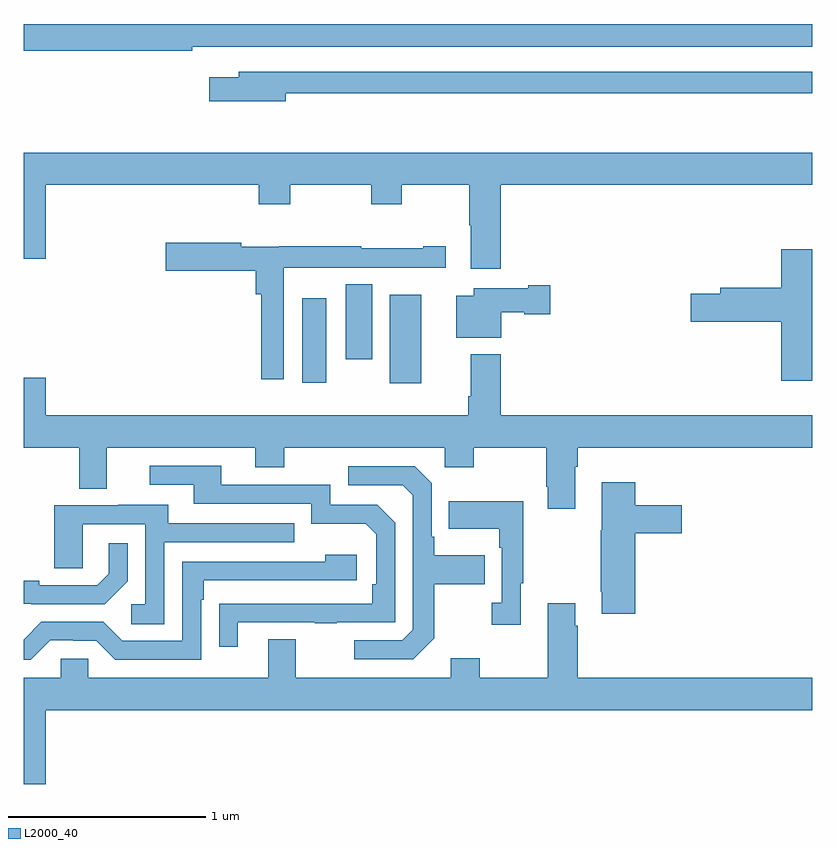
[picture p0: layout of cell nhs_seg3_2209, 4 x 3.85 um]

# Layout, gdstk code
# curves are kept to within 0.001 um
import gdstk
lib = gdstk.Library(unit=1e-6, precision=1e-09)
def R(c, l, rs):  # rectangles x0, y0, x1, y1
    for r in rs: c.add(gdstk.rectangle(r[:2], r[2:], *l))
def P(c, l, *ps):  # polygons
    for p in ps: c.add(gdstk.Polygon(p, *l))
L2000_40 = (2000, 40)

nhs_seg3_2209 = lib.new_cell('nhs_seg3_2209')
R(nhs_seg3_2209, L2000_40, [(226.856,702.573,227.017,703.024), (226.412,702.576,226.534,703.006), (226.634,702.696,226.768,703.076)])
P(nhs_seg3_2209, L2000_40, [(225.854,704.28),(229,704.28),(229,704.396),(225,704.396),(225,704.26),(225.854,704.26)],
  [(226.33,704.046),(229,704.046),(229,704.154),(226.091,704.154),(226.091,704.125),(225.942,704.125),(225.942,704.003),(226.33,704.003)],
  [(227.42,703.58),(229,703.58),(229,703.744),(225,703.744),(225,703.206),(225.112,703.206),(225.112,703.58),(226.193,703.58),(226.193,703.481),(226.353,703.481),(226.353,703.58),(226.762,703.58),(226.762,703.481),(226.917,703.481),(226.917,703.58),(227.26,703.58),(227.26,703.376),(227.267,703.376),(227.267,703.155),(227.42,703.155)],
  [(226.32,703.16),(226.53,703.16),(226.53,703.161),(226.864,703.161),(226.864,703.16),(227.14,703.16),(227.14,703.27),(227.027,703.27),(227.027,703.26),(226.712,703.26),(226.712,703.27),(226.296,703.27),(226.296,703.267),(226.104,703.267),(226.104,703.287),(225.72,703.287),(225.72,703.145),(226.178,703.145),(226.178,703.025),(226.204,703.025),(226.204,702.594),(226.32,702.594)],
  [(229,703.255),(228.842,703.255),(228.842,703.058),(228.533,703.058),(228.533,703.028),(228.384,703.028),(228.384,702.886),(228.842,702.886),(228.842,702.588),(229,702.588)],
  [(227.422,702.935),(227.538,702.935),(227.538,702.923),(227.671,702.923),(227.671,703.07),(227.558,703.07),(227.558,703.057),(227.282,703.057),(227.282,703.018),(227.195,703.018),(227.195,702.806),(227.422,702.806)],
  [(227.42,702.721),(227.267,702.721),(227.267,702.508),(227.255,702.508),(227.255,702.412),(225.112,702.412),(225.112,702.601),(225,702.601),(225,702.248),(225.281,702.248),(225.281,702.04),(225.421,702.04),(225.421,702.248),(226.175,702.248),(226.175,702.149),(226.323,702.149),(226.323,702.248),(227.136,702.248),(227.136,702.149),(227.283,702.149),(227.283,702.248),(227.65,702.248),(227.65,702.049),(227.657,702.049),(227.657,701.937),(227.797,701.937),(227.797,702.152),(227.81,702.152),(227.81,702.248),(229,702.248),(229,702.412),(227.42,702.412)],
  [(226.087,701.361),(226.477,701.361),(226.477,701.356),(226.589,701.356),(226.589,701.361),(226.884,701.361),(226.884,701.868),(226.794,701.958),(226.554,701.958),(226.554,702.06),(226.003,702.06),(226.003,702.156),(225.639,702.156),(225.639,702.06),(225.863,702.06),(225.863,701.964),(226.458,701.964),(226.458,701.861),(226.735,701.861),(226.788,701.808),(226.788,701.554),(226.768,701.554),(226.768,701.457),(225.991,701.456),(225.991,701.238),(226.087,701.238)],
  [(227.083,701.281),(227.083,701.554),(227.339,701.554),(227.339,701.701),(227.083,701.701),(227.083,701.797),(227.07,701.797),(227.07,702.066),(226.983,702.153),(226.647,702.153),(226.647,702.057),(226.923,702.057),(226.974,702.006),(226.974,701.325),(226.92,701.271),(226.677,701.271),(226.677,701.175),(226.977,701.175)],
  [(228.101,701.813),(228.337,701.813),(228.337,701.955),(228.101,701.955),(228.101,702.073),(227.933,702.073),(227.933,701.829),(227.926,701.829),(227.926,701.518),(227.933,701.518),(227.933,701.406),(228.101,701.406)],
  [(227.521,701.561),(227.533,701.561),(227.533,701.977),(227.155,701.977),(227.155,701.837),(227.412,701.837),(227.412,701.741),(227.424,701.741),(227.424,701.462),(227.373,701.462),(227.373,701.349),(227.521,701.349)],
  [(225.714,701.769),(226.373,701.769),(226.373,701.865),(225.733,701.865),(225.733,701.959),(225.479,701.959),(225.479,701.955),(225.155,701.955),(225.155,701.635),(225.3,701.635),(225.3,701.859),(225.618,701.859),(225.618,701.454),(225.546,701.454),(225.546,701.353),(225.714,701.353)],
  [(225.528,701.57),(225.528,701.764),(225.431,701.764),(225.431,701.607),(225.374,701.55),(225.079,701.55),(225.079,701.573),(225,701.573),(225,701.457),(225.04,701.457),(225.04,701.454),(225.412,701.454)],
  [(225.135,701.271),(225.251,701.271),(225.251,701.268),(225.369,701.268),(225.465,701.172),(225.9,701.172),(225.9,701.477),(225.913,701.477),(225.913,701.574),(226.69,701.574),(226.69,701.704),(226.529,701.704),(226.529,701.67),(225.804,701.67),(225.804,701.268),(225.501,701.268),(225.405,701.364),(225.09,701.364),(225,701.274),(225,701.171),(225.035,701.171)],
  [(229,701.08),(227.81,701.08),(227.81,701.345),(227.797,701.345),(227.797,701.458),(227.657,701.458),(227.657,701.08),(227.313,701.08),(227.313,701.179),(227.165,701.179),(227.165,701.08),(226.381,701.08),(226.381,701.275),(226.241,701.275),(226.241,701.08),(225.327,701.08),(225.327,701.178),(225.189,701.178),(225.189,701.08),(225,701.08),(225,700.542),(225.112,700.542),(225.112,700.916),(229,700.916)])

lib.write_gds('nhs_seg3_2209.gds')
